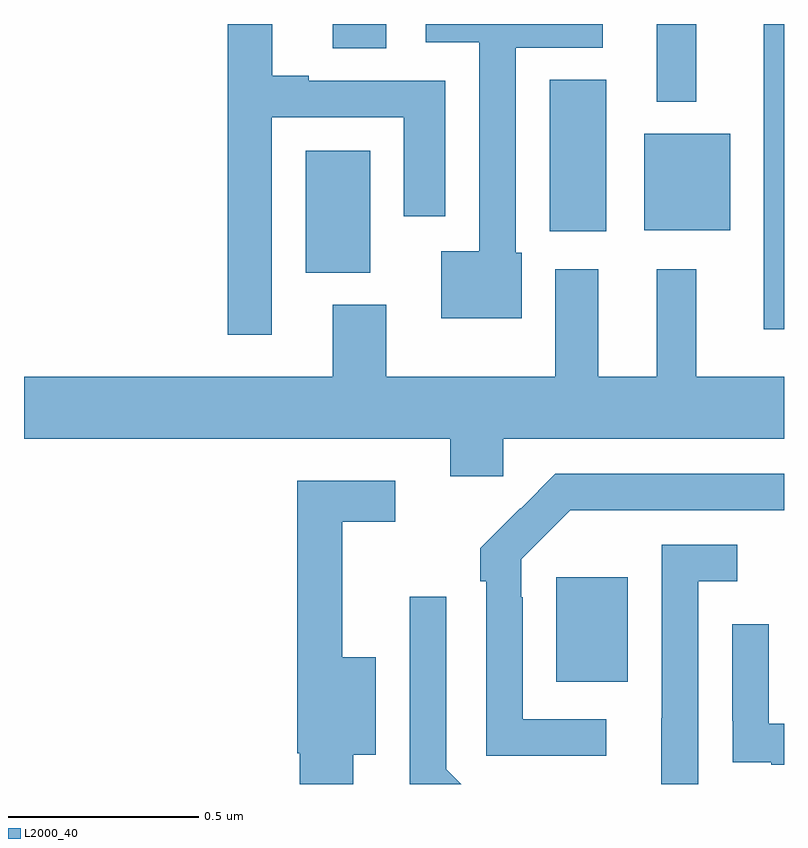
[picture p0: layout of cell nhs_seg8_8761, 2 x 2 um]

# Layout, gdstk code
import gdstk
lib = gdstk.Library(unit=1e-6, precision=1e-09)
def R(c, l, rs):  # rectangles x0, y0, x1, y1
    for r in rs: c.add(gdstk.rectangle(r[:2], r[2:], *l))
def P(c, l, *ps):  # polygons
    for p in ps: c.add(gdstk.Polygon(p, *l))
L2000_40 = (2000, 40)

nhs_seg8_8761 = lib.new_cell('nhs_seg8_8761')
R(nhs_seg8_8761, L2000_40, [(228.401,1141.169,228.589,1141.444), (228.947,1142.097,229,1142.9), (227.741,1142.246,227.911,1142.566), (228.383,1142.355,228.532,1142.753), (228.632,1142.357,228.859,1142.611), (228.665,1142.696,228.769,1142.9), (227.813,1142.836,227.953,1142.9)])
P(nhs_seg8_8761, L2000_40, [(228.31,1142.298),(228.294,1142.298),(228.294,1142.838),(228.523,1142.838),(228.523,1142.9),(228.057,1142.9),(228.057,1142.852),(228.198,1142.852),(228.198,1142.302),(228.098,1142.302),(228.098,1142.126),(228.31,1142.126)],
  [(227.652,1142.655),(227.999,1142.655),(227.999,1142.394),(228.109,1142.394),(228.109,1142.751),(227.749,1142.751),(227.749,1142.764),(227.653,1142.764),(227.653,1142.899),(227.536,1142.899),(227.536,1142.082),(227.652,1142.082)],
  [(228.261,1141.808),(229,1141.808),(229,1141.972),(228.769,1141.972),(228.769,1142.254),(228.665,1142.254),(228.665,1141.972),(228.511,1141.972),(228.511,1142.254),(228.398,1142.254),(228.398,1141.972),(227.953,1141.972),(227.953,1142.161),(227.813,1142.161),(227.813,1141.972),(227,1141.972),(227,1141.808),(228.122,1141.808),(228.122,1141.71),(228.261,1141.71)],
  [(228.532,1141.071),(228.312,1141.071),(228.312,1141.391),(228.309,1141.391),(228.309,1141.491),(228.438,1141.62),(229,1141.62),(229,1141.716),(228.398,1141.716),(228.307,1141.625),(228.306,1141.626),(228.201,1141.521),(228.201,1141.433),(228.216,1141.433),(228.216,1140.975),(228.532,1140.975)],
  [(227.866,1140.977),(227.926,1140.977),(227.926,1141.234),(227.837,1141.234),(227.837,1141.59),(227.977,1141.59),(227.977,1141.698),(227.719,1141.698),(227.719,1140.981),(227.726,1140.981),(227.726,1140.9),(227.866,1140.9)],
  [(228.774,1141.434),(228.877,1141.434),(228.877,1141.53),(228.678,1141.53),(228.678,1141.073),(228.677,1141.073),(228.677,1140.9),(228.774,1140.9)],
  [(228.111,1140.939),(228.111,1141.393),(228.015,1141.393),(228.015,1140.9),(228.15,1140.9)],
  [(229,1141.059),(228.96,1141.059),(228.96,1141.321),(228.864,1141.321),(228.864,1141.066),(228.865,1141.066),(228.865,1140.957),(228.967,1140.957),(228.967,1140.951),(229,1140.951)])

lib.write_gds('nhs_seg8_8761.gds')
